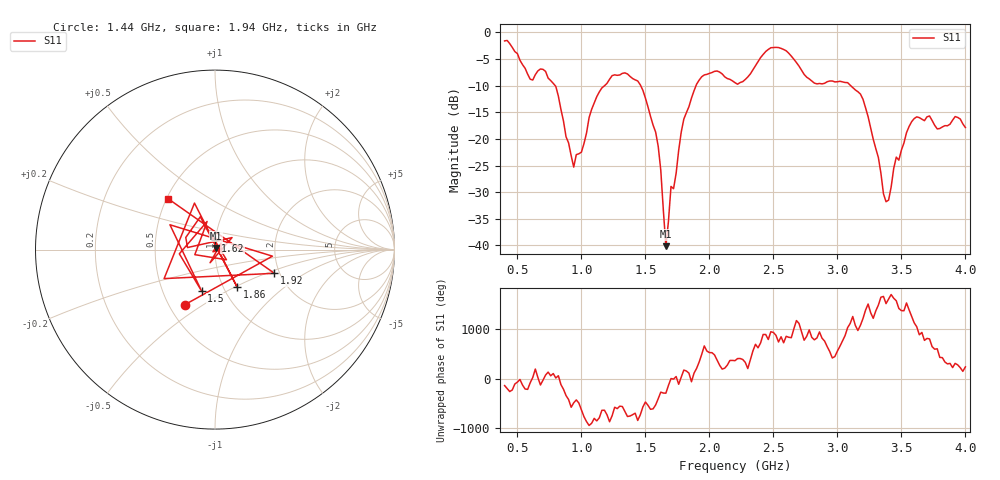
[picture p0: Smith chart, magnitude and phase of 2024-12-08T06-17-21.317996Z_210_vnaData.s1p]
!Created with skrf (http://scikit-rf.org).
# Hz S RI R 50.0
!freq ReS11 ImS11
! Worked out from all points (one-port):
!   181 points, 400 MHz to 4 GHz, reference 50 ohm
!   lowest |S11| = -40.1 dB at 1.66 GHz (marker M1), VSWR 1.02, Z = 50.3 + j0.933 ohm
!   |S11| at or under -10 dB: 795.2 MHz to 1.181 GHz (386.3 MHz wide, 39.1 % of centre); 1.463 GHz to 1.896 GHz (432.4 MHz wide, 25.7 % of centre); 3.104 GHz to end of sweep
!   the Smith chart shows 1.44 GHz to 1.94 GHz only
!   S11 on the Smith chart (normalised r, x): 1.44 GHz: 0.60, -0.42; 1.5 GHz: 0.78, -0.38; 1.62 GHz: 0.99, +0.10; 1.86 GHz: 1.16, -0.51; 1.92 GHz: 1.88, -0.57; 1.94 GHz: 0.51, +0.34
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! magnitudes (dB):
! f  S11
! 400 MHz  -1.6
! 600 MHz  -8.8
! 720 MHz  -7.3
! 800 MHz  -10.1
! 860 MHz  -16.7
! 940 MHz  -25.3
! 1.12 GHz  -12.1
! 1.3 GHz  -8.0
! 1.44 GHz  -9.1
! 1.5 GHz  -12.3
! 1.58 GHz  -18.7
! 1.62 GHz  -25.8
! 1.66 GHz  -40.1
! 1.7 GHz  -28.9
! 1.72 GHz  -29.3
! 1.76 GHz  -22.1
! 1.86 GHz  -12.3
! 1.92 GHz  -9.0
! 1.94 GHz  -8.3
! 2.2 GHz  -9.4
! 2.48 GHz  -2.9
! 2.66 GHz  -5.0
! 2.82 GHz  -9.5
! 3.1 GHz  -9.9
! 3.2 GHz  -12.6
! 3.38 GHz  -31.8
! 3.56 GHz  -17.7
! 4 GHz  -17.9
